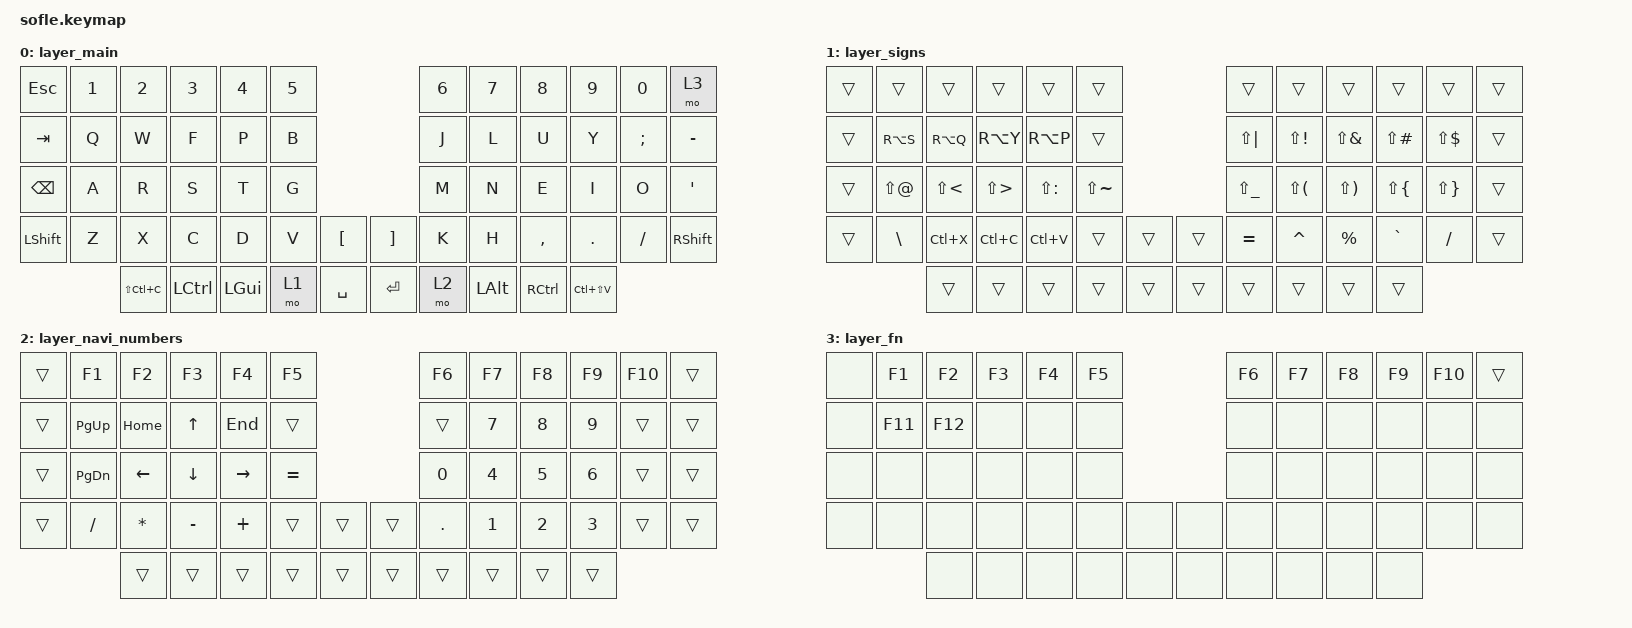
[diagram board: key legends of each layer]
#include <behaviors.dtsi>
#include <dt-bindings/zmk/keys.h>

/ {
    combos {
        compatible = "zmk,combos";

        caps {
            bindings = <&kp CAPSLOCK>;
            key-positions = <36 49>;
        };
    };

    keymap {
        compatible = "zmk,keymap";

        layer_main {
            bindings = <
&kp ESC    &kp N1  &kp N2         &kp N3            &kp N4        &kp N5                          &kp N6  &kp N7    &kp N8             &kp N9         &kp N0    &mo 3
&kp TAB    &kp Q   &kp W          &kp F             &kp P         &kp B                           &kp J   &kp L     &kp U              &kp Y          &kp SEMI  &kp MINUS
&kp BSPC   &kp A   &kp R          &kp S             &kp T         &kp G                           &kp M   &kp N     &kp E              &kp I          &kp O     &kp SQT
&kp LSHFT  &kp Z   &kp X          &kp C             &kp D         &kp V   &kp LBKT     &kp RBKT   &kp K   &kp H     &kp COMMA          &kp DOT        &kp FSLH  &kp RSHFT
                   &kp LS(LC(C))  &kp LEFT_CONTROL  &kp LEFT_GUI  &mo 1   &kp SPACE    &kp ENTER  &mo 2   &kp LALT  &kp RIGHT_CONTROL  &kp LC(LS(V))
            >;
        };

        layer_signs {
            bindings = <
&trans  &trans      &trans      &trans      &trans         &trans                           &trans         &trans        &trans        &trans         &trans        &trans
&trans  &kp RA(S)   &kp RA(Q)   &kp RA(Y)   &kp RA(P)      &trans                           &kp LS(PIPE)   &kp LS(EXCL)  &kp LS(AMPS)  &kp LS(POUND)  &kp LS(DLLR)  &trans
&trans  &kp LS(AT)  &kp LS(LT)  &kp LS(GT)  &kp LS(COLON)  &kp LS(TILDE)                    &kp LS(UNDER)  &kp LS(LPAR)  &kp LS(RPAR)  &kp LS(LBRC)   &kp LS(RBRC)  &trans
&trans  &kp BSLH    &kp LC(X)   &kp LC(C)   &kp LC(V)      &trans         &trans    &trans  &kp EQUAL      &kp CARET     &kp PERCENT   &kp GRAVE      &kp FSLH      &trans
                    &trans      &trans      &trans         &trans         &trans    &trans  &trans         &trans        &trans        &trans
            >;
        };

        layer_navi_numbers {
            bindings = <
&trans  &kp F1     &kp F2    &kp F3     &kp F4     &kp F5                       &kp F6   &kp F7  &kp F8  &kp F9  &kp F10  &trans
&trans  &kp PG_UP  &kp HOME  &kp UP     &kp END    &trans                       &trans   &kp N7  &kp N8  &kp N9  &trans   &trans
&trans  &kp PG_DN  &kp LEFT  &kp DOWN   &kp RIGHT  &kp EQUAL                    &kp N0   &kp N4  &kp N5  &kp N6  &trans   &trans
&trans  &kp FSLH   &kp STAR  &kp MINUS  &kp PLUS   &trans     &trans    &trans  &kp DOT  &kp N1  &kp N2  &kp N3  &trans   &trans
                   &trans    &trans     &trans     &trans     &trans    &trans  &trans   &trans  &trans  &trans
            >;
        };

        layer_fn {
            bindings = <
&none  &kp F1   &kp F2   &kp F3  &kp F4  &kp F5                  &kp F6  &kp F7  &kp F8  &kp F9  &kp F10  &trans
&none  &kp F11  &kp F12  &none   &none   &none                   &none   &none   &none   &none   &none    &none
&none  &none    &none    &none   &none   &none                   &none   &none   &none   &none   &none    &none
&none  &none    &none    &none   &none   &none   &none    &none  &none   &none   &none   &none   &none    &none
                &none    &none   &none   &none   &none    &none  &none   &none   &none   &none
            >;
        };
    };
};
